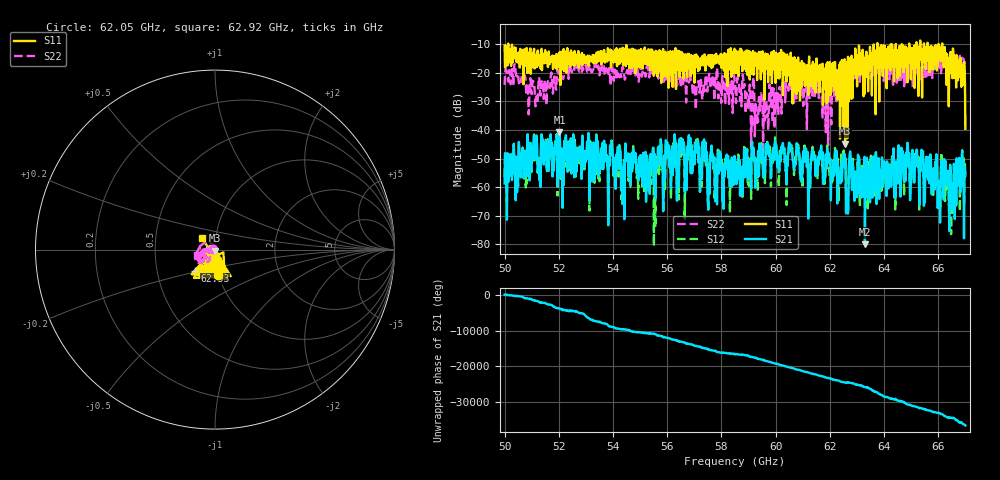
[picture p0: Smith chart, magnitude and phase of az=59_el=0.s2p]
!Created with skrf (http://scikit-rf.org).
# GHz S RI R 50.0
!freq ReS11 ImS11 ReS21 ImS21 ReS12 ImS12 ReS22 ImS22
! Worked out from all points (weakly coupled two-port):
!   1001 points, 50 GHz to 67 GHz, reference 50 ohm
!   highest |S21| = -40.81 dB at 52.02 GHz (marker M1); lowest = -80.0 dB at 63.29 GHz (marker M2)
!   lowest |S11| = -44.8 dB at 62.56 GHz (marker M3), VSWR 1.01, Z = 50 - j0.576 ohm
!   |S11| at or under -10 dB: 50.14 GHz to 63.75 GHz (13.62 GHz wide, 23.9 % of centre); 63.75 GHz to 64.93 GHz (1.171 GHz wide, 1.82 % of centre); 66.15 GHz to end of sweep (the widest 3 of 9)
!   |S22| runs from -48.8 to -14.1 dB; largest |S21 - S12| = 0.0027
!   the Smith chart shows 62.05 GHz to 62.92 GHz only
!   S11 on the Smith chart (normalised r, x): 62.05 GHz: 1.00, -0.28; 62.53 GHz: 0.78, -0.19; 62.92 GHz: 0.86, +0.11
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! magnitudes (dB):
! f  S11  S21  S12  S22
! 50 GHz  -10.5  -58.7  -56.4  -24.3
! 51.16 GHz  -14.7  -44.8  -45.8  -29.9
! 52.02 GHz  -13.1  -40.8  -40.8  -23.0
! 52.84 GHz  -14.5  -57.1  -54.6  -20.1
! 54.2 GHz  -16.4  -53.5  -56.3  -20.2
! 54.35 GHz  -11.3  -65.9  -61.5  -18.0
! 54.52 GHz  -16.9  -51.0  -50.3  -19.2
! 55.68 GHz  -14.1  -46.4  -47.4  -22.1
! 58.5 GHz  -20.2  -57.2  -54.3  -24.0
! 59.62 GHz  -13.3  -51.7  -48.5  -34.0
! 61.34 GHz  -24.6  -47.2  -47.7  -25.7
! 62.05 GHz  -17.1  -53.5  -54.8  -38.1
! 62.53 GHz  -15.7  -49.1  -49.2  -18.8
! 62.56 GHz  -44.8  -51.5  -54.3  -19.5
! 62.92 GHz  -20.3  -59.5  -55.0  -19.6
! 63.29 GHz  -15.7  -80.0  -59.8  -17.9
! 64.18 GHz  -18.3  -58.2  -53.0  -18.6
! 64.84 GHz  -11.5  -48.5  -50.0  -16.4
! 66.08 GHz  -15.9  -60.2  -66.8  -15.7
! 66.47 GHz  -20.2  -63.8  -76.4  -15.6
! 66.9 GHz  -17.3  -59.6  -56.5  -15.0
! 67 GHz  -39.6  -55.0  -56.5  -15.4
